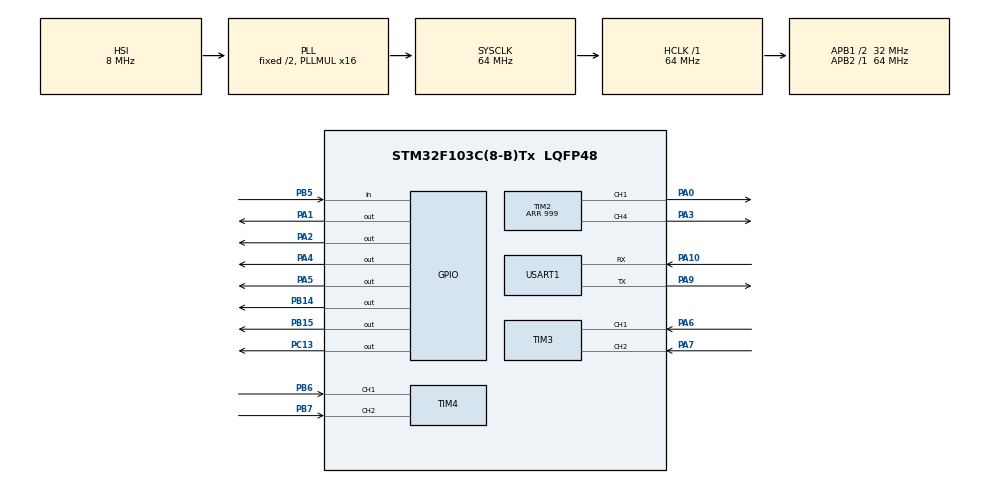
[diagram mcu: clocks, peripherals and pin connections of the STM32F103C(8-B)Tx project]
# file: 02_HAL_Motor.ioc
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Mcu.Family=STM32F1
Mcu.Name=STM32F103C(8-B)Tx
Mcu.Package=LQFP48
NVIC.PriorityGroup=NVIC_PRIORITYGROUP_4
PA0-WKUP.Signal=S_TIM2_CH1_ETR
PA1.Signal=GPIO_Output
PA10.Mode=Asynchronous
PA10.Signal=USART1_RX
PA13.Mode=Serial_Wire
PA13.Signal=SYS_JTMS-SWDIO
PA14.Mode=Serial_Wire
PA14.Signal=SYS_JTCK-SWCLK
PA2.Signal=GPIO_Output
PA3.Signal=S_TIM2_CH4
PA4.Signal=GPIO_Output
PA5.Signal=GPIO_Output
PA6.Signal=S_TIM3_CH1
PA7.Signal=S_TIM3_CH2
PA9.Mode=Asynchronous
PA9.Signal=USART1_TX
PB14.GPIO_ModeDefaultOutputPP=GPIO_MODE_OUTPUT_OD
PB14.GPIO_PuPd=GPIO_PULLUP
PB14.GPIO_Speed=GPIO_SPEED_FREQ_HIGH
PB14.PinState=GPIO_PIN_SET
PB14.Signal=GPIO_Output
PB15.GPIO_ModeDefaultOutputPP=GPIO_MODE_OUTPUT_OD
PB15.GPIO_PuPd=GPIO_PULLUP
PB15.GPIO_Speed=GPIO_SPEED_FREQ_HIGH
PB15.PinState=GPIO_PIN_SET
PB15.Signal=GPIO_Output
PB5.GPIO_PuPd=GPIO_PULLUP
PB5.Signal=GPIO_Input
PB6.Signal=S_TIM4_CH1
PB7.Signal=S_TIM4_CH2
PC13-TAMPER-RTC.Signal=GPIO_Output
ProjectManager.HeapSize=0x200
ProjectManager.StackSize=0x400
ProjectManager.TargetToolchain=MDK-ARM V5.32
RCC.AHBFreq_Value=64000000
RCC.APB1CLKDivider=RCC_HCLK_DIV2
RCC.APB1Freq_Value=32000000
RCC.APB1TimFreq_Value=64000000
RCC.APB2Freq_Value=64000000
RCC.APB2TimFreq_Value=64000000
RCC.HCLKFreq_Value=64000000
RCC.PLLMUL=RCC_PLL_MUL16
RCC.SYSCLKFreq_VALUE=64000000
RCC.SYSCLKSource=RCC_SYSCLKSOURCE_PLLCLK
RCC.USBFreq_Value=64000000
SH.S_TIM2_CH1_ETR.0=TIM2_CH1,PWM Generation1 CH1
SH.S_TIM2_CH4.0=TIM2_CH4,PWM Generation4 CH4
SH.S_TIM3_CH1.0=TIM3_CH1,Encoder_Interface
SH.S_TIM3_CH2.0=TIM3_CH2,Encoder_Interface
SH.S_TIM4_CH1.0=TIM4_CH1,Encoder_Interface
SH.S_TIM4_CH2.0=TIM4_CH2,Encoder_Interface
TIM2.Channel-PWM\ Generation1\ CH1=TIM_CHANNEL_1
TIM2.Channel-PWM\ Generation4\ CH4=TIM_CHANNEL_4
TIM2.Period=999
TIM3.EncoderMode=TIM_ENCODERMODE_TI12
TIM4.EncoderMode=TIM_ENCODERMODE_TI12
USART1.VirtualMode=VM_ASYNC
board=custom

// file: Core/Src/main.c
/* USER CODE BEGIN Header */
/**
  ******************************************************************************
  * @file           : main.c
  * @brief          : Main program body
  ******************************************************************************
  * @attention
  *
  * Copyright (c) 2026 STMicroelectronics.
  * All rights reserved.
  *
  * This software is licensed under terms that can be found in the LICENSE file
  * in the root directory of this software component.
  * If no LICENSE file comes with this software, it is provided AS-IS.
  *
  ******************************************************************************
  */
/* USER CODE END Header */
#include "main.h"

/* USER CODE BEGIN Includes */

#include "mpu6050.h"
#include "mpu6050_i2c.h"
#include "stdio.h"
#include "oled.h"
#include "motor.h"

/* USER CODE END Includes */

TIM_HandleTypeDef htim2;
TIM_HandleTypeDef htim3;
TIM_HandleTypeDef htim4;

UART_HandleTypeDef huart1;

void SystemClock_Config(void);
static void MX_GPIO_Init(void);
static void MX_TIM2_Init(void);
static void MX_USART1_UART_Init(void);
static void MX_TIM3_Init(void);
static void MX_TIM4_Init(void);

/* USER CODE BEGIN 0 */

float gz_offset = 0.0f;               // 角速度的零点偏移量
volatile float current_angle = 0.0f;  // 当前角度
volatile float real_gz = 0.0f;        // 角速度

/* USER CODE END 0 */

int main(void)
{

  /* MCU Configuration--------------------------------------------------------*/

  /* Reset of all peripherals, Initializes the Flash interface and the Systick. */
  HAL_Init();

  /* Configure the system clock */
  SystemClock_Config();

  /* Initialize all configured peripherals */
  MX_GPIO_Init();
  MX_TIM2_Init();
  MX_USART1_UART_Init();
  MX_TIM3_Init();
  MX_TIM4_Init();
  /* USER CODE BEGIN 2 */

	// 开启PWM（控制占空比）
  HAL_TIM_PWM_Start(&htim2, TIM_CHANNEL_1);
  HAL_TIM_PWM_Start(&htim2, TIM_CHANNEL_4);

	// 开启TIM（定时器）
  HAL_TIM_Encoder_Start(&htim3, TIM_CHANNEL_ALL);
  HAL_TIM_Encoder_Start(&htim4, TIM_CHANNEL_ALL);

	//开启I2C
  IIC_Init();
  HAL_Delay(100);

	//开启OLED
  OLED_Init();
  OLED_Clear();
  OLED_ShowString(0, 0, "SYSTEM INIT...");

	//按键启动
	OLED_ShowString(0, 2, "READY?");
  while(HAL_GPIO_ReadPin(GPIOB, GPIO_PIN_5) == GPIO_PIN_SET);
  HAL_Delay(100);

  // 开启MPU6050并校准
  uint8_t status = MPU6050_Init();

  if(status == 0) {
      OLED_ShowString(0, 4, "MPU6050 OK");

  float sum = 0;
  for(int i = 0; i < 500; i++) {
      MPU6050_Read_All();
      sum += gz;
      HAL_Delay(2);
  }
      gz_offset = sum / 500.0f;

      OLED_ShowString(0, 6, "CALIBRATION OK");
  } else {
      OLED_ShowString(0, 4, "MPU6050 FAIL");
      while(1);
  }

  HAL_Delay(1000);

  /* USER CODE END 2 */

  /* Infinite loop */
  while (1)
  {

    /* USER CODE BEGIN 3 */

	int16_t left_pulse = __HAL_TIM_GET_COUNTER(&htim3);//读取左脉冲
  int16_t right_pulse = __HAL_TIM_GET_COUNTER(&htim4);//读取右脉冲

	for(int j = 0; j < 4; j++) {

		//显示圈数
		OLED_Clear();
		OLED_ShowString(0, 0, "NO.");
		OLED_ShowNum(20, 0, j+1, 1);

	for(int i = 0; i < 4; i++) {

			//直行
			OLED_ShowString(0, 2, "FORWARD...");
      OLED_ShowNum(80, 2, i+1, 1);
      Car_Forward_Distance(STRAIGHT_DIST_CM);

      //转弯
      OLED_ShowString(0, 2, "TURNING...");
      Turn_Left_90();

  }

	}

  //完成
  OLED_Clear();
  OLED_ShowString(0, 0, "FINISH!");
	while(1);
	}

  /* USER CODE END 3 */
}

void SystemClock_Config(void)
{
  RCC_OscInitTypeDef RCC_OscInitStruct = {0};
  RCC_ClkInitTypeDef RCC_ClkInitStruct = {0};

  /** Initializes the RCC Oscillators according to the specified parameters
  * in the RCC_OscInitTypeDef structure.
  */
  RCC_OscInitStruct.OscillatorType = RCC_OSCILLATORTYPE_HSI;
  RCC_OscInitStruct.HSIState = RCC_HSI_ON;
  RCC_OscInitStruct.HSICalibrationValue = RCC_HSICALIBRATION_DEFAULT;
  RCC_OscInitStruct.PLL.PLLState = RCC_PLL_ON;
  RCC_OscInitStruct.PLL.PLLSource = RCC_PLLSOURCE_HSI_DIV2;
  RCC_OscInitStruct.PLL.PLLMUL = RCC_PLL_MUL16;
  if (HAL_RCC_OscConfig(&RCC_OscInitStruct) != HAL_OK)
  {
    Error_Handler();
  }

  /** Initializes the CPU, AHB and APB buses clocks
  */
  RCC_ClkInitStruct.ClockType = RCC_CLOCKTYPE_HCLK|RCC_CLOCKTYPE_SYSCLK
                              |RCC_CLOCKTYPE_PCLK1|RCC_CLOCKTYPE_PCLK2;
  RCC_ClkInitStruct.SYSCLKSource = RCC_SYSCLKSOURCE_PLLCLK;
  RCC_ClkInitStruct.AHBCLKDivider = RCC_SYSCLK_DIV1;
  RCC_ClkInitStruct.APB1CLKDivider = RCC_HCLK_DIV2;
  RCC_ClkInitStruct.APB2CLKDivider = RCC_HCLK_DIV1;

  if (HAL_RCC_ClockConfig(&RCC_ClkInitStruct, FLASH_LATENCY_2) != HAL_OK)
  {
    Error_Handler();
  }
}

static void MX_TIM2_Init(void)
{

  TIM_MasterConfigTypeDef sMasterConfig = {0};
  TIM_OC_InitTypeDef sConfigOC = {0};

  htim2.Instance = TIM2;
  htim2.Init.Prescaler = 0;
  htim2.Init.CounterMode = TIM_COUNTERMODE_UP;
  htim2.Init.Period = 999;
  htim2.Init.ClockDivision = TIM_CLOCKDIVISION_DIV1;
  htim2.Init.AutoReloadPreload = TIM_AUTORELOAD_PRELOAD_DISABLE;
  if (HAL_TIM_PWM_Init(&htim2) != HAL_OK)
  {
    Error_Handler();
  }
  sMasterConfig.MasterOutputTrigger = TIM_TRGO_RESET;
  sMasterConfig.MasterSlaveMode = TIM_MASTERSLAVEMODE_DISABLE;
  if (HAL_TIMEx_MasterConfigSynchronization(&htim2, &sMasterConfig) != HAL_OK)
  {
    Error_Handler();
  }
  sConfigOC.OCMode = TIM_OCMODE_PWM1;
  sConfigOC.Pulse = 0;
  sConfigOC.OCPolarity = TIM_OCPOLARITY_HIGH;
  sConfigOC.OCFastMode = TIM_OCFAST_DISABLE;
  if (HAL_TIM_PWM_ConfigChannel(&htim2, &sConfigOC, TIM_CHANNEL_1) != HAL_OK)
  {
    Error_Handler();
  }
  if (HAL_TIM_PWM_ConfigChannel(&htim2, &sConfigOC, TIM_CHANNEL_4) != HAL_OK)
  {
    Error_Handler();
  }
  HAL_TIM_MspPostInit(&htim2);

}

static void MX_TIM3_Init(void)
{

  TIM_Encoder_InitTypeDef sConfig = {0};
  TIM_MasterConfigTypeDef sMasterConfig = {0};

  htim3.Instance = TIM3;
  htim3.Init.Prescaler = 0;
  htim3.Init.CounterMode = TIM_COUNTERMODE_UP;
  htim3.Init.Period = 65535;
  htim3.Init.ClockDivision = TIM_CLOCKDIVISION_DIV1;
  htim3.Init.AutoReloadPreload = TIM_AUTORELOAD_PRELOAD_DISABLE;
  sConfig.EncoderMode = TIM_ENCODERMODE_TI12;
  sConfig.IC1Polarity = TIM_ICPOLARITY_RISING;
  sConfig.IC1Selection = TIM_ICSELECTION_DIRECTTI;
  sConfig.IC1Prescaler = TIM_ICPSC_DIV1;
  sConfig.IC1Filter = 0;
  sConfig.IC2Polarity = TIM_ICPOLARITY_RISING;
  sConfig.IC2Selection = TIM_ICSELECTION_DIRECTTI;
  sConfig.IC2Prescaler = TIM_ICPSC_DIV1;
  sConfig.IC2Filter = 0;
  if (HAL_TIM_Encoder_Init(&htim3, &sConfig) != HAL_OK)
  {
    Error_Handler();
  }
  sMasterConfig.MasterOutputTrigger = TIM_TRGO_RESET;
  sMasterConfig.MasterSlaveMode = TIM_MASTERSLAVEMODE_DISABLE;
  if (HAL_TIMEx_MasterConfigSynchronization(&htim3, &sMasterConfig) != HAL_OK)
  {
    Error_Handler();
  }

}

static void MX_TIM4_Init(void)
{

  TIM_Encoder_InitTypeDef sConfig = {0};
  TIM_MasterConfigTypeDef sMasterConfig = {0};

  htim4.Instance = TIM4;
  htim4.Init.Prescaler = 0;
  htim4.Init.CounterMode = TIM_COUNTERMODE_UP;
  htim4.Init.Period = 65535;
  htim4.Init.ClockDivision = TIM_CLOCKDIVISION_DIV1;
  htim4.Init.AutoReloadPreload = TIM_AUTORELOAD_PRELOAD_DISABLE;
  sConfig.EncoderMode = TIM_ENCODERMODE_TI12;
  sConfig.IC1Polarity = TIM_ICPOLARITY_RISING;
  sConfig.IC1Selection = TIM_ICSELECTION_DIRECTTI;
  sConfig.IC1Prescaler = TIM_ICPSC_DIV1;
  sConfig.IC1Filter = 0;
  sConfig.IC2Polarity = TIM_ICPOLARITY_RISING;
  sConfig.IC2Selection = TIM_ICSELECTION_DIRECTTI;
  sConfig.IC2Prescaler = TIM_ICPSC_DIV1;
  sConfig.IC2Filter = 0;
  if (HAL_TIM_Encoder_Init(&htim4, &sConfig) != HAL_OK)
  {
    Error_Handler();
  }
  sMasterConfig.MasterOutputTrigger = TIM_TRGO_RESET;
  sMasterConfig.MasterSlaveMode = TIM_MASTERSLAVEMODE_DISABLE;
  if (HAL_TIMEx_MasterConfigSynchronization(&htim4, &sMasterConfig) != HAL_OK)
  {
    Error_Handler();
  }

}

static void MX_USART1_UART_Init(void)
{

  huart1.Instance = USART1;
  huart1.Init.BaudRate = 115200;
  huart1.Init.WordLength = UART_WORDLENGTH_8B;
  huart1.Init.StopBits = UART_STOPBITS_1;
  huart1.Init.Parity = UART_PARITY_NONE;
  huart1.Init.Mode = UART_MODE_TX_RX;
  huart1.Init.HwFlowCtl = UART_HWCONTROL_NONE;
  huart1.Init.OverSampling = UART_OVERSAMPLING_16;
  if (HAL_UART_Init(&huart1) != HAL_OK)
  {
    Error_Handler();
  }

}

static void MX_GPIO_Init(void)
{
  GPIO_InitTypeDef GPIO_InitStruct = {0};

  /* GPIO Ports Clock Enable */
  __HAL_RCC_GPIOC_CLK_ENABLE();
  __HAL_RCC_GPIOA_CLK_ENABLE();
  __HAL_RCC_GPIOB_CLK_ENABLE();

  /*Configure GPIO pin Output Level */
  HAL_GPIO_WritePin(GPIOC, GPIO_PIN_13, GPIO_PIN_RESET);

  /*Configure GPIO pin Output Level */
  HAL_GPIO_WritePin(GPIOA, GPIO_PIN_1|GPIO_PIN_2|GPIO_PIN_4|GPIO_PIN_5, GPIO_PIN_RESET);

  /*Configure GPIO pin Output Level */
  HAL_GPIO_WritePin(GPIOB, GPIO_PIN_14|GPIO_PIN_15, GPIO_PIN_SET);

  /*Configure GPIO pin : PC13 */
  GPIO_InitStruct.Pin = GPIO_PIN_13;
  GPIO_InitStruct.Mode = GPIO_MODE_OUTPUT_PP;
  GPIO_InitStruct.Pull = GPIO_NOPULL;
  GPIO_InitStruct.Speed = GPIO_SPEED_FREQ_LOW;
  HAL_GPIO_Init(GPIOC, &GPIO_InitStruct);

  /*Configure GPIO pins : PA1 PA2 PA4 PA5 */
  GPIO_InitStruct.Pin = GPIO_PIN_1|GPIO_PIN_2|GPIO_PIN_4|GPIO_PIN_5;
  GPIO_InitStruct.Mode = GPIO_MODE_OUTPUT_PP;
  GPIO_InitStruct.Pull = GPIO_NOPULL;
  GPIO_InitStruct.Speed = GPIO_SPEED_FREQ_LOW;
  HAL_GPIO_Init(GPIOA, &GPIO_InitStruct);

  /*Configure GPIO pins : PB14 PB15 */
  GPIO_InitStruct.Pin = GPIO_PIN_14|GPIO_PIN_15;
  GPIO_InitStruct.Mode = GPIO_MODE_OUTPUT_OD;
  GPIO_InitStruct.Pull = GPIO_PULLUP;
  GPIO_InitStruct.Speed = GPIO_SPEED_FREQ_HIGH;
  HAL_GPIO_Init(GPIOB, &GPIO_InitStruct);

  /*Configure GPIO pin : PB5 */
  GPIO_InitStruct.Pin = GPIO_PIN_5;
  GPIO_InitStruct.Mode = GPIO_MODE_INPUT;
  GPIO_InitStruct.Pull = GPIO_PULLUP;
  HAL_GPIO_Init(GPIOB, &GPIO_InitStruct);

}

void Error_Handler(void)
{
  __disable_irq();
  while (1)
  {
  }
}
